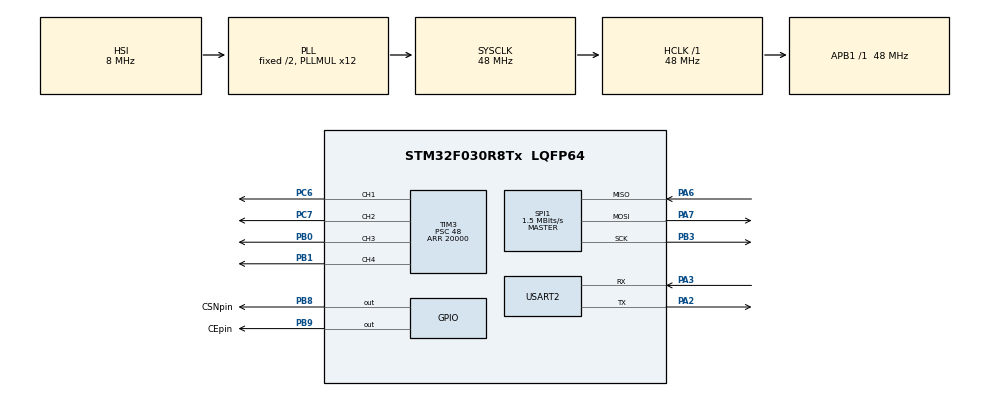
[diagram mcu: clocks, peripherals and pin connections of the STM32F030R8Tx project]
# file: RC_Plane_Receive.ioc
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Mcu.Family=STM32F0
Mcu.Name=STM32F030R8Tx
Mcu.Package=LQFP64
NVIC.TIM1_BRK_UP_TRG_COM_IRQn=true\:3\:0\:false\:false\:true\:false\:true
NVIC.TimeBase=TIM1_BRK_UP_TRG_COM_IRQn
NVIC.TimeBaseIP=TIM1
PA2.Mode=Asynchronous
PA2.Signal=USART2_TX
PA3.Mode=Asynchronous
PA3.Signal=USART2_RX
PA6.Mode=Full_Duplex_Master
PA6.Signal=SPI1_MISO
PA7.Mode=Full_Duplex_Master
PA7.Signal=SPI1_MOSI
PB0.Signal=S_TIM3_CH3
PB1.Signal=S_TIM3_CH4
PB3.Mode=Full_Duplex_Master
PB3.Signal=SPI1_SCK
PB8.GPIO_Label=CSNpin
PB8.Signal=GPIO_Output
PB9.GPIO_Label=CEpin
PB9.Signal=GPIO_Output
PC6.Signal=S_TIM3_CH1
PC7.Signal=S_TIM3_CH2
ProjectManager.HeapSize=0x200
ProjectManager.StackSize=0x400
ProjectManager.TargetToolchain=STM32CubeIDE
RCC.AHBFreq_Value=48000000
RCC.APB1Freq_Value=48000000
RCC.APB1TimFreq_Value=48000000
RCC.HCLKFreq_Value=48000000
RCC.PLLMUL=RCC_PLL_MUL12
RCC.SYSCLKFreq_VALUE=48000000
RCC.SYSCLKSource=RCC_SYSCLKSOURCE_PLLCLK
SH.S_TIM3_CH1.0=TIM3_CH1,PWM Generation1 CH1
SH.S_TIM3_CH2.0=TIM3_CH2,PWM Generation2 CH2
SH.S_TIM3_CH3.0=TIM3_CH3,PWM Generation3 CH3
SH.S_TIM3_CH4.0=TIM3_CH4,PWM Generation4 CH4
SPI1.BaudRatePrescaler=SPI_BAUDRATEPRESCALER_32
SPI1.CalculateBaudRate=1.5 MBits/s
SPI1.DataSize=SPI_DATASIZE_8BIT
SPI1.Direction=SPI_DIRECTION_2LINES
SPI1.Mode=SPI_MODE_MASTER
SPI1.VirtualType=VM_MASTER
TIM3.Channel-PWM\ Generation1\ CH1=TIM_CHANNEL_1
TIM3.Channel-PWM\ Generation2\ CH2=TIM_CHANNEL_2
TIM3.Channel-PWM\ Generation3\ CH3=TIM_CHANNEL_3
TIM3.Channel-PWM\ Generation4\ CH4=TIM_CHANNEL_4
TIM3.Period=20000
TIM3.Prescaler=48
TIM3.Pulse-PWM\ Generation1\ CH1=1000
TIM3.Pulse-PWM\ Generation2\ CH2=1000
TIM3.Pulse-PWM\ Generation3\ CH3=1000
TIM3.Pulse-PWM\ Generation4\ CH4=1000
USART2.VirtualMode-Asynchronous=VM_ASYNC
VP_SYS_VS_tim1.Mode=TIM1
board=NUCLEO-F030R8

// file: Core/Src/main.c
/* USER CODE BEGIN Header */
/**
  ******************************************************************************
  * @file           : main.c
  * @brief          : Main program body
  ******************************************************************************
  * @attention
  *
  * <h2><center>&copy; Copyright (c) 2021 STMicroelectronics.
  * All rights reserved.</center></h2>
  *
  * This software component is licensed by ST under BSD 3-Clause license,
  * the "License"; You may not use this file except in compliance with the
  * License. You may obtain a copy of the License at:
  *                        opensource.org/licenses/BSD-3-Clause
  *
  ******************************************************************************
  */
/* USER CODE END Header */
#include "main.h"

/* USER CODE BEGIN Includes */
#include "MY_NRF24.h"
/* USER CODE END Includes */

SPI_HandleTypeDef hspi1;

TIM_HandleTypeDef htim3;

UART_HandleTypeDef huart2;

void SystemClock_Config(void);
static void MX_GPIO_Init(void);
static void MX_USART2_UART_Init(void);
static void MX_SPI1_Init(void);
static void MX_TIM3_Init(void);

/* USER CODE BEGIN 0 */
//our address to receive data on our nrf24 module
uint64_t RxpipeAddrs = 0x11223344AA;
//array to hold our data from nrf24
uint8_t myRxData[4];

//Variables required for smoothing algorithm
const uint8_t len = 8;				//amount of samples
uint32_t arrNumbers[4][8] = {0};    // the readings from the analog input
uint8_t pos = 0;                	// the index of the current reading
uint32_t sum[4] = {0};              // the running total
uint32_t newAvg[4] = {0};			//our moving averages

//In order to print on uart as a serial debugger this function allows the use of printf
//when you use printf like normal and have this function and uart properly enabled your
//output will happen on your selected uart outputs
int _write(int file, char *outgoing, int len) {
   HAL_UART_Transmit(&huart2, outgoing, len, 100);
   return len;
}

//maps our values from one range to another
long map(long x, long in_min, long in_max, long out_min, long out_max)
{
  return (x - in_min) * (out_max - out_min) / (in_max - in_min) + out_min;
}

//Function for smoothing our input for pwm uses the moving average algorithm
int movingAvg(int *ptrArrNumbers, long *ptrSum, int pos, int len, int nextNum)
{
  //Subtract the oldest number from the prev sum, add the new number
  *ptrSum = *ptrSum - ptrArrNumbers[pos] + nextNum;
  //Assign the nextNum to the position in the array
  ptrArrNumbers[pos] = nextNum;
  //return the average
  return *ptrSum / len;
}
/* USER CODE END 0 */

int main(void)
{

  /* MCU Configuration--------------------------------------------------------*/

  /* Reset of all peripherals, Initializes the Flash interface and the Systick. */
  HAL_Init();

  /* Configure the system clock */
  SystemClock_Config();

  /* Initialize all configured peripherals */
  MX_GPIO_Init();
  MX_USART2_UART_Init();
  MX_SPI1_Init();
  MX_TIM3_Init();
  /* USER CODE BEGIN 2 */

  //Start Timers for all four PWM outputs
  HAL_TIM_PWM_Start(&htim3, TIM_CHANNEL_1);
  HAL_TIM_PWM_Start(&htim3, TIM_CHANNEL_2);
  HAL_TIM_PWM_Start(&htim3, TIM_CHANNEL_3);
  HAL_TIM_PWM_Start(&htim3, TIM_CHANNEL_4);

  //Initialize our NRF24 module with the correct pins and spi handler
  NRF24_begin(CEpin_GPIO_Port, CSNpin_Pin, CEpin_Pin, hspi1);

  //Initialize where our NRF24 debug messages will be displayed (we select uart)
  nrf24_DebugUART_Init(huart2);
  //Print the NRF24 settings
  printRadioSettings();

  //Initialize various NRF24 options open the reading pipe and start listening
  NRF24_setAutoAck(false);
  NRF24_setChannel(52);
  NRF24_setPayloadSize(32);
  NRF24_openReadingPipe(1, RxpipeAddrs);
  NRF24_startListening();

  /* USER CODE END 2 */

  /* Infinite loop */
  while (1)
  {

    /* USER CODE BEGIN 3 */

	//Check if we've received a packet from our transmitter
	if(NRF24_available()){

		//read the transmitted data into our array myRxData
		NRF24_read(myRxData, 32);

		//Map our data to the appropriate range for pwm output, our data comes in the form of an angle between 0 and
		//180 degrees because we are using a range of 20ms and we need a duty cycle of 5ms to 25ms we use 500-2500
		//because of our clock settings (prescalar 48, period 20,000 us)
		//
		//Then we smooth our values using our movingAvg function
		uint8_t i;
		for(i = 0; i < 4; i++){
			int mapped = map(myRxData[i], 0, 180, 500, 2500);
			newAvg[i] = movingAvg(arrNumbers[i], &sum[i], pos, len, mapped);
		}

		//Printing our adjusted values for debugging
		printf("0: %lu \r\n", newAvg[0]);
		printf("1: %lu \r\n", newAvg[1]);
		printf("2: %lu \r\n", newAvg[2]);
		printf("3: %lu \r\n", newAvg[3]);

		//increment our position in our arrayss of samples for moving average
		pos++;
		if(pos >= len){
			pos = 0;
		}

		//Setting our PWM timers to our received and adjusted data
		TIM3->CCR1 = newAvg[0];
		TIM3->CCR2 = newAvg[1];
		TIM3->CCR3 = newAvg[2];
		TIM3->CCR4 = newAvg[3];
	}

  }
  /* USER CODE END 3 */
}

void SystemClock_Config(void)
{
  RCC_OscInitTypeDef RCC_OscInitStruct = {0};
  RCC_ClkInitTypeDef RCC_ClkInitStruct = {0};

  /** Initializes the RCC Oscillators according to the specified parameters
  * in the RCC_OscInitTypeDef structure.
  */
  RCC_OscInitStruct.OscillatorType = RCC_OSCILLATORTYPE_HSI;
  RCC_OscInitStruct.HSIState = RCC_HSI_ON;
  RCC_OscInitStruct.HSICalibrationValue = RCC_HSICALIBRATION_DEFAULT;
  RCC_OscInitStruct.PLL.PLLState = RCC_PLL_ON;
  RCC_OscInitStruct.PLL.PLLSource = RCC_PLLSOURCE_HSI;
  RCC_OscInitStruct.PLL.PLLMUL = RCC_PLL_MUL12;
  RCC_OscInitStruct.PLL.PREDIV = RCC_PREDIV_DIV1;
  if (HAL_RCC_OscConfig(&RCC_OscInitStruct) != HAL_OK)
  {
    Error_Handler();
  }
  /** Initializes the CPU, AHB and APB buses clocks
  */
  RCC_ClkInitStruct.ClockType = RCC_CLOCKTYPE_HCLK|RCC_CLOCKTYPE_SYSCLK
                              |RCC_CLOCKTYPE_PCLK1;
  RCC_ClkInitStruct.SYSCLKSource = RCC_SYSCLKSOURCE_PLLCLK;
  RCC_ClkInitStruct.AHBCLKDivider = RCC_SYSCLK_DIV1;
  RCC_ClkInitStruct.APB1CLKDivider = RCC_HCLK_DIV1;

  if (HAL_RCC_ClockConfig(&RCC_ClkInitStruct, FLASH_LATENCY_1) != HAL_OK)
  {
    Error_Handler();
  }
}

static void MX_SPI1_Init(void)
{

  /* SPI1 parameter configuration*/
  hspi1.Instance = SPI1;
  hspi1.Init.Mode = SPI_MODE_MASTER;
  hspi1.Init.Direction = SPI_DIRECTION_2LINES;
  hspi1.Init.DataSize = SPI_DATASIZE_8BIT;
  hspi1.Init.CLKPolarity = SPI_POLARITY_LOW;
  hspi1.Init.CLKPhase = SPI_PHASE_1EDGE;
  hspi1.Init.NSS = SPI_NSS_SOFT;
  hspi1.Init.BaudRatePrescaler = SPI_BAUDRATEPRESCALER_32;
  hspi1.Init.FirstBit = SPI_FIRSTBIT_MSB;
  hspi1.Init.TIMode = SPI_TIMODE_DISABLE;
  hspi1.Init.CRCCalculation = SPI_CRCCALCULATION_DISABLE;
  hspi1.Init.CRCPolynomial = 7;
  hspi1.Init.CRCLength = SPI_CRC_LENGTH_DATASIZE;
  hspi1.Init.NSSPMode = SPI_NSS_PULSE_ENABLE;
  if (HAL_SPI_Init(&hspi1) != HAL_OK)
  {
    Error_Handler();
  }

}

static void MX_TIM3_Init(void)
{

  TIM_MasterConfigTypeDef sMasterConfig = {0};
  TIM_OC_InitTypeDef sConfigOC = {0};

  htim3.Instance = TIM3;
  htim3.Init.Prescaler = 48;
  htim3.Init.CounterMode = TIM_COUNTERMODE_UP;
  htim3.Init.Period = 20000;
  htim3.Init.ClockDivision = TIM_CLOCKDIVISION_DIV1;
  htim3.Init.AutoReloadPreload = TIM_AUTORELOAD_PRELOAD_DISABLE;
  if (HAL_TIM_PWM_Init(&htim3) != HAL_OK)
  {
    Error_Handler();
  }
  sMasterConfig.MasterOutputTrigger = TIM_TRGO_RESET;
  sMasterConfig.MasterSlaveMode = TIM_MASTERSLAVEMODE_DISABLE;
  if (HAL_TIMEx_MasterConfigSynchronization(&htim3, &sMasterConfig) != HAL_OK)
  {
    Error_Handler();
  }
  sConfigOC.OCMode = TIM_OCMODE_PWM1;
  sConfigOC.Pulse = 1000;
  sConfigOC.OCPolarity = TIM_OCPOLARITY_HIGH;
  sConfigOC.OCFastMode = TIM_OCFAST_DISABLE;
  if (HAL_TIM_PWM_ConfigChannel(&htim3, &sConfigOC, TIM_CHANNEL_1) != HAL_OK)
  {
    Error_Handler();
  }
  if (HAL_TIM_PWM_ConfigChannel(&htim3, &sConfigOC, TIM_CHANNEL_2) != HAL_OK)
  {
    Error_Handler();
  }
  if (HAL_TIM_PWM_ConfigChannel(&htim3, &sConfigOC, TIM_CHANNEL_3) != HAL_OK)
  {
    Error_Handler();
  }
  if (HAL_TIM_PWM_ConfigChannel(&htim3, &sConfigOC, TIM_CHANNEL_4) != HAL_OK)
  {
    Error_Handler();
  }
  HAL_TIM_MspPostInit(&htim3);

}

static void MX_USART2_UART_Init(void)
{

  huart2.Instance = USART2;
  huart2.Init.BaudRate = 38400;
  huart2.Init.WordLength = UART_WORDLENGTH_8B;
  huart2.Init.StopBits = UART_STOPBITS_1;
  huart2.Init.Parity = UART_PARITY_NONE;
  huart2.Init.Mode = UART_MODE_TX_RX;
  huart2.Init.HwFlowCtl = UART_HWCONTROL_NONE;
  huart2.Init.OverSampling = UART_OVERSAMPLING_16;
  huart2.Init.OneBitSampling = UART_ONE_BIT_SAMPLE_DISABLE;
  huart2.AdvancedInit.AdvFeatureInit = UART_ADVFEATURE_NO_INIT;
  if (HAL_UART_Init(&huart2) != HAL_OK)
  {
    Error_Handler();
  }

}

static void MX_GPIO_Init(void)
{
  GPIO_InitTypeDef GPIO_InitStruct = {0};

  /* GPIO Ports Clock Enable */
  __HAL_RCC_GPIOA_CLK_ENABLE();
  __HAL_RCC_GPIOB_CLK_ENABLE();
  __HAL_RCC_GPIOC_CLK_ENABLE();

  /*Configure GPIO pin Output Level */
  HAL_GPIO_WritePin(GPIOB, CSNpin_Pin|CEpin_Pin, GPIO_PIN_RESET);

  /*Configure GPIO pins : CSNpin_Pin CEpin_Pin */
  GPIO_InitStruct.Pin = CSNpin_Pin|CEpin_Pin;
  GPIO_InitStruct.Mode = GPIO_MODE_OUTPUT_PP;
  GPIO_InitStruct.Pull = GPIO_NOPULL;
  GPIO_InitStruct.Speed = GPIO_SPEED_FREQ_LOW;
  HAL_GPIO_Init(GPIOB, &GPIO_InitStruct);

}

void HAL_TIM_PeriodElapsedCallback(TIM_HandleTypeDef *htim)
{
  if (htim->Instance == TIM1) {
    HAL_IncTick();
  }
}

void Error_Handler(void)
{
  __disable_irq();
  while (1)
  {
  }
}

/************************ (C) COPYRIGHT STMicroelectronics *****END OF FILE****/
